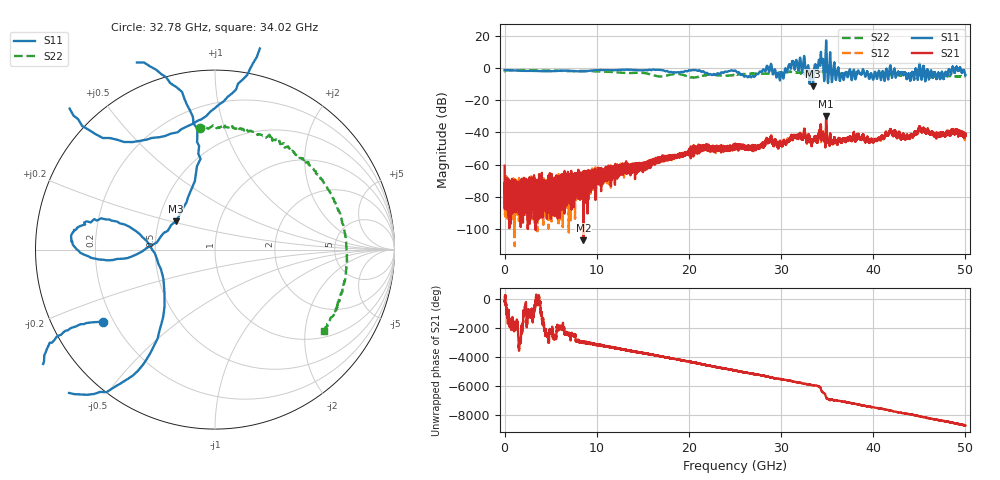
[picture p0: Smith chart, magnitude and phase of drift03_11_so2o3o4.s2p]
!Created with skrf (http://scikit-rf.org).
# Hz S RI R 50.0
!freq ReS11 ImS11 ReS21 ImS21 ReS12 ImS12 ReS22 ImS22
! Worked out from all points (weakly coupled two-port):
!   10001 points, 300 kHz to 50 GHz, reference 50 ohm
!   highest |S21| = -30.01 dB at 34.89 GHz (marker M1); lowest = -106.9 dB at 8.56 GHz (marker M2)
!   lowest |S11| = -11.4 dB at 33.47 GHz (marker M3), VSWR 1.74, Z = 30.7 + j10.4 ohm
!   |S11| at or under -10 dB: 33.44363 GHz to 33.48741 GHz (43.79 MHz wide, 0.131 % of centre)
!   |S22| runs from -5.9 to -1.3 dB; largest |S21 - S12| = 0.0055
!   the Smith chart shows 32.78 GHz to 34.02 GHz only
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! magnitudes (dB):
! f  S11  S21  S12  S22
! 300 kHz  -1.3  -60.6  -79.4  -2.0
! 255.3 MHz  -1.3  -74.7  -74.4  -1.4
! 485.3 MHz  -1.4  -84.2  -72.8  -1.5
! 5.33 GHz  -2.0  -74.7  -85.5  -1.6
! 8.335 GHz  -2.2  -70.3  -65.0  -1.9
! 8.56 GHz  -2.1  -106.9  -72.6  -1.9
! 16.67 GHz  -1.1  -56.4  -58.0  -5.2
! 25 GHz  -1.6  -48.4  -48.8  -4.3
! 26.92 GHz  -4.9  -50.0  -49.9  -3.6
! 28.73 GHz  -2.3  -45.5  -45.6  -3.5
! 30.06 GHz  -2.5  -48.4  -48.2  -2.9
! 31.88 GHz  -1.7  -42.6  -42.4  -2.9
! 33.34 GHz  -2.2  -47.5  -47.6  -2.9
! 33.47 GHz  -11.4  -44.5  -45.2  -2.8
! 34.3 GHz  6.5  -35.1  -37.0  -2.3
! 34.89 GHz  17.0  -30.0  -31.1  -2.4
! 36.58 GHz  -3.6  -46.2  -45.9  -3.5
! 40.18 GHz  -2.6  -44.5  -44.3  -3.7
! 41.67 GHz  -5.8  -41.4  -40.4  -3.6
! 47.07 GHz  -3.0  -42.1  -41.0  -5.1
! 49.22 GHz  -1.8  -42.7  -39.9  -5.2
! 50 GHz  -4.5  -42.2  -41.4  -5.0
